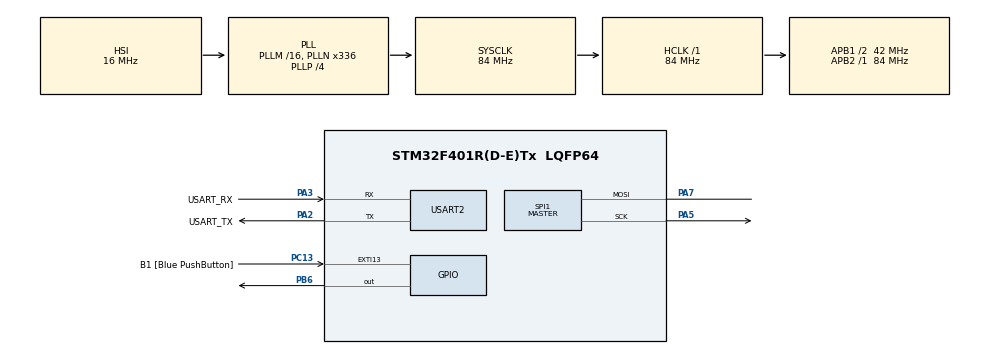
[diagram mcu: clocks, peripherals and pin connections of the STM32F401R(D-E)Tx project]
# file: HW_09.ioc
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Dma.Request0=SPI1_TX
Dma.SPI1_TX.0.Direction=DMA_MEMORY_TO_PERIPH
Dma.SPI1_TX.0.FIFOMode=DMA_FIFOMODE_DISABLE
Dma.SPI1_TX.0.Instance=DMA2_Stream3
Dma.SPI1_TX.0.MemDataAlignment=DMA_MDATAALIGN_BYTE
Dma.SPI1_TX.0.MemInc=DMA_MINC_ENABLE
Dma.SPI1_TX.0.Mode=DMA_NORMAL
Dma.SPI1_TX.0.PeriphDataAlignment=DMA_PDATAALIGN_BYTE
Dma.SPI1_TX.0.PeriphInc=DMA_PINC_DISABLE
Dma.SPI1_TX.0.Priority=DMA_PRIORITY_LOW
Mcu.Family=STM32F4
Mcu.Name=STM32F401R(D-E)Tx
Mcu.Package=LQFP64
NVIC.DMA2_Stream3_IRQn=true\:0\:0\:false\:false\:true\:false\:true\:true
NVIC.PriorityGroup=NVIC_PRIORITYGROUP_0
NVIC.TIM2_IRQn=true\:0\:0\:false\:false\:true\:true\:true\:true
NVIC.TIM3_IRQn=true\:0\:0\:false\:false\:true\:true\:true\:true
PA13.GPIO_Label=TMS
PA13.Mode=Serial_Wire
PA13.Signal=SYS_JTMS-SWDIO
PA14.GPIO_Label=TCK
PA14.Mode=Serial_Wire
PA14.Signal=SYS_JTCK-SWCLK
PA2.GPIO_Label=USART_TX
PA2.GPIO_Mode=GPIO_MODE_AF_PP
PA2.GPIO_PuPd=GPIO_NOPULL
PA2.GPIO_Speed=GPIO_SPEED_FREQ_LOW
PA2.Mode=Asynchronous
PA2.Signal=USART2_TX
PA3.GPIO_Label=USART_RX
PA3.GPIO_Mode=GPIO_MODE_AF_PP
PA3.GPIO_PuPd=GPIO_NOPULL
PA3.GPIO_Speed=GPIO_SPEED_FREQ_LOW
PA3.Mode=Asynchronous
PA3.Signal=USART2_RX
PA5.Mode=Simplex_Bidirectional_Master
PA5.Signal=SPI1_SCK
PA6.Signal=SPI1_MISO
PA7.Mode=Simplex_Bidirectional_Master
PA7.Signal=SPI1_MOSI
PB3.GPIO_Label=SWO
PB3.Signal=SYS_JTDO-SWO
PB6.Signal=GPIO_Output
PC13-ANTI_TAMP.GPIO_Label=B1 [Blue PushButton]
PC13-ANTI_TAMP.GPIO_ModeDefaultEXTI=GPIO_MODE_IT_FALLING
PC13-ANTI_TAMP.GPIO_PuPd=GPIO_NOPULL
PC13-ANTI_TAMP.Signal=GPXTI13
PC14-OSC32_IN.Mode=LSE-External-Oscillator
PC14-OSC32_IN.Signal=RCC_OSC32_IN
PC15-OSC32_OUT.Mode=LSE-External-Oscillator
PC15-OSC32_OUT.Signal=RCC_OSC32_OUT
PH0\ -\ OSC_IN.Mode=HSE-External-Clock-Source
PH0\ -\ OSC_IN.Signal=RCC_OSC_IN
PH1\ -\ OSC_OUT.Mode=HSE-External-Clock-Source
PH1\ -\ OSC_OUT.Signal=RCC_OSC_OUT
ProjectManager.HeapSize=0x200
ProjectManager.StackSize=0x400
ProjectManager.TargetToolchain=STM32CubeIDE
RCC.48MHZClocksFreq_Value=48000000
RCC.AHBFreq_Value=84000000
RCC.APB1CLKDivider=RCC_HCLK_DIV2
RCC.APB1Freq_Value=42000000
RCC.APB1TimFreq_Value=84000000
RCC.APB2Freq_Value=84000000
RCC.APB2TimFreq_Value=84000000
RCC.CortexFreq_Value=84000000
RCC.HCLKFreq_Value=84000000
RCC.HSE_VALUE=8000000
RCC.HSI_VALUE=16000000
RCC.PLLN=336
RCC.PLLP=RCC_PLLP_DIV4
RCC.PLLQ=7
RCC.SYSCLKFreq_VALUE=84000000
RCC.SYSCLKSource=RCC_SYSCLKSOURCE_PLLCLK
RCC.VCOOutputFreq_Value=336000000
SPI1.BaudRatePrescaler=SPI_BAUDRATEPRESCALER_4
SPI1.Direction=SPI_DIRECTION_1LINE
SPI1.Mode=SPI_MODE_MASTER
SPI1.VirtualType=VM_MASTER
TIM2.Period=40-1
TIM2.Prescaler=8400-1
TIM3.Period=10000-1
TIM3.Prescaler=8400-1
USART2.VirtualMode=VM_ASYNC
VP_TIM2_VS_ClockSourceINT.Mode=Internal
VP_TIM3_VS_ClockSourceINT.Mode=Internal
board=NUCLEO-F401RE

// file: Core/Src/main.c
/* USER CODE BEGIN Header */
/**
  ******************************************************************************
  * @file           : main.c
  * @brief          : Main program body
  ******************************************************************************
  * @attention
  *
  * Copyright (c) 2024 STMicroelectronics.
  * All rights reserved.
  *
  * This software is licensed under terms that can be found in the LICENSE file
  * in the root directory of this software component.
  * If no LICENSE file comes with this software, it is provided AS-IS.
  *
  ******************************************************************************
  */
/* USER CODE END Header */
#include "main.h"

SPI_HandleTypeDef hspi1;
DMA_HandleTypeDef hdma_spi1_tx;

TIM_HandleTypeDef htim2;
TIM_HandleTypeDef htim3;

UART_HandleTypeDef huart2;

/* USER CODE BEGIN PV */

uint8_t coord[4][5][2]={ //letter, row, column
		{{31,16}, //A
		{36,8},
		{68,4},
		{36,2},
		{31,1}},

		{{127,16}, //B
		{73,8},
		{73,4},
		{73,2},
		{54,1}},

		{{62,16}, //O
		{65,8},
		{65,4},
		{65,2},
		{62,1}},

		{{99,16}, //X
		{20,8},
		{8,4},
		{20,2},
		{99,1}},

};
int i=0,j=0;

int numElements = sizeof(coord) / sizeof(coord[0]);
int num_col= sizeof(coord[0])/sizeof(coord[0][0]);
/* USER CODE END PV */

void SystemClock_Config(void);
static void MX_GPIO_Init(void);
static void MX_DMA_Init(void);
static void MX_USART2_UART_Init(void);
static void MX_SPI1_Init(void);
static void MX_TIM2_Init(void);
static void MX_TIM3_Init(void);

/* USER CODE BEGIN 0 */
void HAL_SPI_TxCpltCallback(SPI_HandleTypeDef* hspi) {
	if(hspi->Instance == SPI1) {
		HAL_GPIO_WritePin(GPIOB, GPIO_PIN_6, GPIO_PIN_SET);
	}
}

void HAL_TIM_PeriodElapsedCallback(TIM_HandleTypeDef *htim) {
	if (htim->Instance == TIM2) { //tim2 every 4ms, change column
		//HAL_TIM_Base_Stop_IT(&htim2);

		if( HAL_SPI_GetState(&hspi1)==HAL_SPI_STATE_READY ){
			HAL_GPIO_WritePin(GPIOB, GPIO_PIN_6, GPIO_PIN_RESET); //The register allow to shift the data from the first shift register to the second shift register only when the transmission is completed. We create the pulse via code using the pin PA6.
			HAL_SPI_Transmit_DMA(&hspi1, coord[j][i], 2); //transmit the column
		  }

		i=(i+1)%num_col; //iterate over the 5 columns

		//HAL_TIM_Base_Start_IT(&htim2);
	}

	if (htim->Instance == TIM3) { //tim3 every 1s, change letter
		j=(j+1)%numElements;
	}
}
/* USER CODE END 0 */

int main(void)
{

  /* MCU Configuration--------------------------------------------------------*/

  /* Reset of all peripherals, Initializes the Flash interface and the Systick. */
  HAL_Init();

  /* Configure the system clock */
  SystemClock_Config();

  /* Initialize all configured peripherals */
  MX_GPIO_Init();
  MX_DMA_Init();
  MX_USART2_UART_Init();
  MX_SPI1_Init();
  MX_TIM2_Init();
  MX_TIM3_Init();
  /* USER CODE BEGIN 2 */
    HAL_TIM_Base_Start_IT(&htim2);
    HAL_TIM_Base_Start_IT(&htim3);
    HAL_GPIO_WritePin(GPIOB, GPIO_PIN_6, GPIO_PIN_SET); //Pin PB6 is the SS: slave select, is set to 1 when i'm not sending the data
  /* USER CODE END 2 */

  /* Infinite loop */
  while (1)
  {

  }
}

void SystemClock_Config(void)
{
  RCC_OscInitTypeDef RCC_OscInitStruct = {0};
  RCC_ClkInitTypeDef RCC_ClkInitStruct = {0};

  /** Configure the main internal regulator output voltage
  */
  __HAL_RCC_PWR_CLK_ENABLE();
  __HAL_PWR_VOLTAGESCALING_CONFIG(PWR_REGULATOR_VOLTAGE_SCALE2);

  /** Initializes the RCC Oscillators according to the specified parameters
  * in the RCC_OscInitTypeDef structure.
  */
  RCC_OscInitStruct.OscillatorType = RCC_OSCILLATORTYPE_HSI;
  RCC_OscInitStruct.HSIState = RCC_HSI_ON;
  RCC_OscInitStruct.HSICalibrationValue = RCC_HSICALIBRATION_DEFAULT;
  RCC_OscInitStruct.PLL.PLLState = RCC_PLL_ON;
  RCC_OscInitStruct.PLL.PLLSource = RCC_PLLSOURCE_HSI;
  RCC_OscInitStruct.PLL.PLLM = 16;
  RCC_OscInitStruct.PLL.PLLN = 336;
  RCC_OscInitStruct.PLL.PLLP = RCC_PLLP_DIV4;
  RCC_OscInitStruct.PLL.PLLQ = 7;
  if (HAL_RCC_OscConfig(&RCC_OscInitStruct) != HAL_OK)
  {
    Error_Handler();
  }

  /** Initializes the CPU, AHB and APB buses clocks
  */
  RCC_ClkInitStruct.ClockType = RCC_CLOCKTYPE_HCLK|RCC_CLOCKTYPE_SYSCLK
                              |RCC_CLOCKTYPE_PCLK1|RCC_CLOCKTYPE_PCLK2;
  RCC_ClkInitStruct.SYSCLKSource = RCC_SYSCLKSOURCE_PLLCLK;
  RCC_ClkInitStruct.AHBCLKDivider = RCC_SYSCLK_DIV1;
  RCC_ClkInitStruct.APB1CLKDivider = RCC_HCLK_DIV2;
  RCC_ClkInitStruct.APB2CLKDivider = RCC_HCLK_DIV1;

  if (HAL_RCC_ClockConfig(&RCC_ClkInitStruct, FLASH_LATENCY_2) != HAL_OK)
  {
    Error_Handler();
  }
}

static void MX_SPI1_Init(void)
{

  /* SPI1 parameter configuration*/
  hspi1.Instance = SPI1;
  hspi1.Init.Mode = SPI_MODE_MASTER;
  hspi1.Init.Direction = SPI_DIRECTION_1LINE;
  hspi1.Init.DataSize = SPI_DATASIZE_8BIT;
  hspi1.Init.CLKPolarity = SPI_POLARITY_LOW;
  hspi1.Init.CLKPhase = SPI_PHASE_1EDGE;
  hspi1.Init.NSS = SPI_NSS_SOFT;
  hspi1.Init.BaudRatePrescaler = SPI_BAUDRATEPRESCALER_4;
  hspi1.Init.FirstBit = SPI_FIRSTBIT_MSB;
  hspi1.Init.TIMode = SPI_TIMODE_DISABLE;
  hspi1.Init.CRCCalculation = SPI_CRCCALCULATION_DISABLE;
  hspi1.Init.CRCPolynomial = 10;
  if (HAL_SPI_Init(&hspi1) != HAL_OK)
  {
    Error_Handler();
  }

}

static void MX_TIM2_Init(void)
{

  TIM_ClockConfigTypeDef sClockSourceConfig = {0};
  TIM_MasterConfigTypeDef sMasterConfig = {0};

  htim2.Instance = TIM2;
  htim2.Init.Prescaler = 8400-1;
  htim2.Init.CounterMode = TIM_COUNTERMODE_UP;
  htim2.Init.Period = 40-1;
  htim2.Init.ClockDivision = TIM_CLOCKDIVISION_DIV1;
  htim2.Init.AutoReloadPreload = TIM_AUTORELOAD_PRELOAD_DISABLE;
  if (HAL_TIM_Base_Init(&htim2) != HAL_OK)
  {
    Error_Handler();
  }
  sClockSourceConfig.ClockSource = TIM_CLOCKSOURCE_INTERNAL;
  if (HAL_TIM_ConfigClockSource(&htim2, &sClockSourceConfig) != HAL_OK)
  {
    Error_Handler();
  }
  sMasterConfig.MasterOutputTrigger = TIM_TRGO_RESET;
  sMasterConfig.MasterSlaveMode = TIM_MASTERSLAVEMODE_DISABLE;
  if (HAL_TIMEx_MasterConfigSynchronization(&htim2, &sMasterConfig) != HAL_OK)
  {
    Error_Handler();
  }

}

static void MX_TIM3_Init(void)
{

  TIM_ClockConfigTypeDef sClockSourceConfig = {0};
  TIM_MasterConfigTypeDef sMasterConfig = {0};

  htim3.Instance = TIM3;
  htim3.Init.Prescaler = 8400-1;
  htim3.Init.CounterMode = TIM_COUNTERMODE_UP;
  htim3.Init.Period = 10000-1;
  htim3.Init.ClockDivision = TIM_CLOCKDIVISION_DIV1;
  htim3.Init.AutoReloadPreload = TIM_AUTORELOAD_PRELOAD_DISABLE;
  if (HAL_TIM_Base_Init(&htim3) != HAL_OK)
  {
    Error_Handler();
  }
  sClockSourceConfig.ClockSource = TIM_CLOCKSOURCE_INTERNAL;
  if (HAL_TIM_ConfigClockSource(&htim3, &sClockSourceConfig) != HAL_OK)
  {
    Error_Handler();
  }
  sMasterConfig.MasterOutputTrigger = TIM_TRGO_RESET;
  sMasterConfig.MasterSlaveMode = TIM_MASTERSLAVEMODE_DISABLE;
  if (HAL_TIMEx_MasterConfigSynchronization(&htim3, &sMasterConfig) != HAL_OK)
  {
    Error_Handler();
  }

}

static void MX_USART2_UART_Init(void)
{

  huart2.Instance = USART2;
  huart2.Init.BaudRate = 115200;
  huart2.Init.WordLength = UART_WORDLENGTH_8B;
  huart2.Init.StopBits = UART_STOPBITS_1;
  huart2.Init.Parity = UART_PARITY_NONE;
  huart2.Init.Mode = UART_MODE_TX_RX;
  huart2.Init.HwFlowCtl = UART_HWCONTROL_NONE;
  huart2.Init.OverSampling = UART_OVERSAMPLING_16;
  if (HAL_UART_Init(&huart2) != HAL_OK)
  {
    Error_Handler();
  }

}

static void MX_DMA_Init(void)
{

  /* DMA controller clock enable */
  __HAL_RCC_DMA2_CLK_ENABLE();

  /* DMA interrupt init */
  /* DMA2_Stream3_IRQn interrupt configuration */
  HAL_NVIC_SetPriority(DMA2_Stream3_IRQn, 0, 0);
  HAL_NVIC_EnableIRQ(DMA2_Stream3_IRQn);

}

static void MX_GPIO_Init(void)
{
  GPIO_InitTypeDef GPIO_InitStruct = {0};

  /* GPIO Ports Clock Enable */
  __HAL_RCC_GPIOC_CLK_ENABLE();
  __HAL_RCC_GPIOH_CLK_ENABLE();
  __HAL_RCC_GPIOA_CLK_ENABLE();
  __HAL_RCC_GPIOB_CLK_ENABLE();

  /*Configure GPIO pin Output Level */
  HAL_GPIO_WritePin(GPIOB, GPIO_PIN_6, GPIO_PIN_RESET);

  /*Configure GPIO pin : B1_Pin */
  GPIO_InitStruct.Pin = B1_Pin;
  GPIO_InitStruct.Mode = GPIO_MODE_IT_FALLING;
  GPIO_InitStruct.Pull = GPIO_NOPULL;
  HAL_GPIO_Init(B1_GPIO_Port, &GPIO_InitStruct);

  /*Configure GPIO pin : PB6 */
  GPIO_InitStruct.Pin = GPIO_PIN_6;
  GPIO_InitStruct.Mode = GPIO_MODE_OUTPUT_PP;
  GPIO_InitStruct.Pull = GPIO_NOPULL;
  GPIO_InitStruct.Speed = GPIO_SPEED_FREQ_LOW;
  HAL_GPIO_Init(GPIOB, &GPIO_InitStruct);

}

void Error_Handler(void)
{
  __disable_irq();
  while (1)
  {
  }
}
